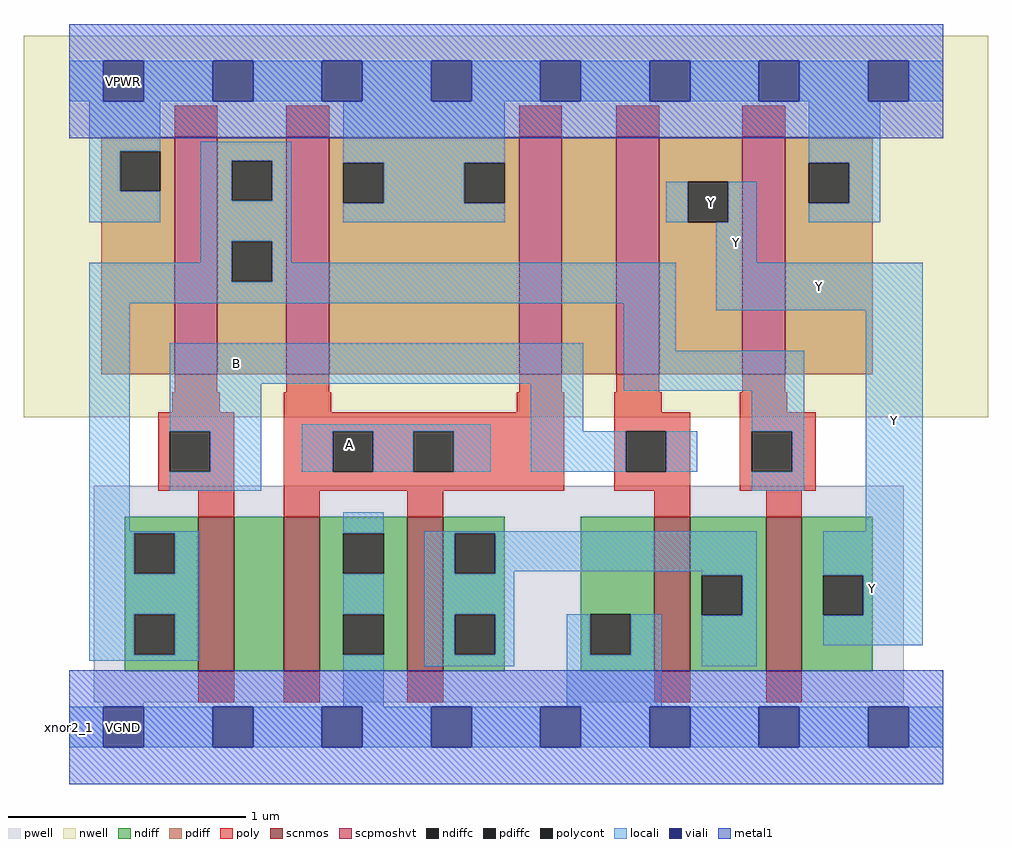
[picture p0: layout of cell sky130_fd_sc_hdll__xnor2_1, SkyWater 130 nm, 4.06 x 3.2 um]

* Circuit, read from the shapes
.subckt sky130_fd_sc_hdll__xnor2_1 A B VGND VNB VPB VPWR Y
XM1 n1 B n2 VNB sky130_fd_pr__nfet_01v8 w=0.65 l=0.15
XM2 VGND A n1 VNB sky130_fd_pr__nfet_01v8 w=0.65 l=0.15
XM3 n3 A VGND VNB sky130_fd_pr__nfet_01v8 w=0.65 l=0.15
XM4 n3 B VGND VNB sky130_fd_pr__nfet_01v8 w=0.65 l=0.15
XM5 Y n2 n3 VNB sky130_fd_pr__nfet_01v8 w=0.65 l=0.15
XM6 n2 B VPWR VPB sky130_fd_pr__pfet_01v8_hvt w=1 l=0.18
XM7 VPWR A n2 VPB sky130_fd_pr__pfet_01v8_hvt w=1 l=0.18
XM8 n4 A VPWR VPB sky130_fd_pr__pfet_01v8_hvt w=1 l=0.18
XM9 Y B n4 VPB sky130_fd_pr__pfet_01v8_hvt w=1 l=0.18
XM10 VPWR n2 Y VPB sky130_fd_pr__pfet_01v8_hvt w=1 l=0.18
.ends

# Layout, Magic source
magic
tech sky130A
magscale 1 2
<< nwell >>
rect -38 261 774 582
<< pwell >>
rect 21 21 703 203
rect 29 -17 63 21
<< scnmos >>
rect 109 47 139 177
rect 181 47 211 177
rect 285 47 315 177
rect 493 47 523 177
rect 587 47 617 177
<< scpmoshvt >>
rect 89 297 125 497
rect 183 297 219 497
rect 379 297 415 497
rect 461 297 497 497
rect 567 297 603 497
<< ndiff >>
rect 47 163 109 177
rect 47 129 55 163
rect 89 129 109 163
rect 47 95 109 129
rect 47 61 55 95
rect 89 61 109 95
rect 47 47 109 61
rect 139 47 181 177
rect 211 163 285 177
rect 211 129 231 163
rect 265 129 285 163
rect 211 95 285 129
rect 211 61 231 95
rect 265 61 285 95
rect 211 47 285 61
rect 315 163 367 177
rect 315 129 325 163
rect 359 129 367 163
rect 315 95 367 129
rect 315 61 325 95
rect 359 61 367 95
rect 315 47 367 61
rect 431 95 493 177
rect 431 61 439 95
rect 473 61 493 95
rect 431 47 493 61
rect 523 128 587 177
rect 523 94 533 128
rect 567 94 587 128
rect 523 47 587 94
rect 617 128 677 177
rect 617 94 635 128
rect 669 94 677 128
rect 617 47 677 94
<< pdiff >>
rect 27 485 89 497
rect 27 451 43 485
rect 77 451 89 485
rect 27 297 89 451
rect 125 477 183 497
rect 125 443 137 477
rect 171 443 183 477
rect 125 409 183 443
rect 125 375 137 409
rect 171 375 183 409
rect 125 297 183 375
rect 219 475 379 497
rect 219 441 231 475
rect 265 441 333 475
rect 367 441 379 475
rect 219 297 379 441
rect 415 297 461 497
rect 497 459 567 497
rect 497 425 521 459
rect 555 425 567 459
rect 497 297 567 425
rect 603 475 677 497
rect 603 441 623 475
rect 657 441 677 475
rect 603 297 677 441
<< ndiffc >>
rect 55 129 89 163
rect 55 61 89 95
rect 231 129 265 163
rect 231 61 265 95
rect 325 129 359 163
rect 325 61 359 95
rect 439 61 473 95
rect 533 94 567 128
rect 635 94 669 128
<< pdiffc >>
rect 43 451 77 485
rect 137 443 171 477
rect 137 375 171 409
rect 231 441 265 475
rect 333 441 367 475
rect 521 425 555 459
rect 623 441 657 475
<< poly >>
rect 89 497 125 523
rect 183 497 219 523
rect 379 497 415 523
rect 461 497 497 523
rect 567 497 603 523
rect 89 282 125 297
rect 183 282 219 297
rect 379 282 415 297
rect 461 282 497 297
rect 567 282 603 297
rect 87 265 127 282
rect 181 265 221 282
rect 377 265 417 282
rect 75 249 139 265
rect 75 215 85 249
rect 119 215 139 249
rect 75 199 139 215
rect 109 177 139 199
rect 181 249 417 265
rect 181 215 222 249
rect 256 215 290 249
rect 324 215 417 249
rect 181 199 417 215
rect 459 265 499 282
rect 565 265 605 282
rect 459 249 523 265
rect 459 215 469 249
rect 503 215 523 249
rect 459 199 523 215
rect 565 249 629 265
rect 565 215 575 249
rect 609 215 629 249
rect 565 199 629 215
rect 181 177 211 199
rect 285 177 315 199
rect 493 177 523 199
rect 587 177 617 199
rect 109 21 139 47
rect 181 21 211 47
rect 285 21 315 47
rect 493 21 523 47
rect 587 21 617 47
<< polycont >>
rect 85 215 119 249
rect 222 215 256 249
rect 290 215 324 249
rect 469 215 503 249
rect 575 215 609 249
<< locali >>
rect 0 527 29 561
rect 63 527 121 561
rect 155 527 213 561
rect 247 527 305 561
rect 339 527 397 561
rect 431 527 489 561
rect 523 527 581 561
rect 615 527 673 561
rect 707 527 736 561
rect 17 485 77 527
rect 17 451 43 485
rect 17 425 77 451
rect 111 477 187 493
rect 111 443 137 477
rect 171 443 187 477
rect 111 409 187 443
rect 231 475 367 527
rect 265 441 333 475
rect 623 475 683 527
rect 231 425 367 441
rect 503 425 521 459
rect 555 425 579 459
rect 657 441 683 475
rect 623 425 683 441
rect 111 391 137 409
rect 17 375 137 391
rect 171 391 187 409
rect 545 391 579 425
rect 171 375 511 391
rect 17 357 511 375
rect 17 165 51 357
rect 85 289 433 323
rect 85 249 162 289
rect 119 215 162 249
rect 196 249 355 255
rect 196 215 222 249
rect 256 215 290 249
rect 324 215 355 249
rect 389 249 433 289
rect 467 317 511 357
rect 545 351 719 391
rect 467 283 619 317
rect 575 249 619 283
rect 389 215 469 249
rect 503 215 529 249
rect 609 215 619 249
rect 85 199 162 215
rect 575 199 619 215
rect 17 163 110 165
rect 17 129 55 163
rect 89 129 110 163
rect 17 95 110 129
rect 17 61 55 95
rect 89 61 110 95
rect 17 56 110 61
rect 231 163 265 181
rect 671 165 719 351
rect 231 95 265 129
rect 231 17 265 61
rect 299 163 579 165
rect 299 129 325 163
rect 359 131 579 163
rect 359 129 375 131
rect 299 95 375 129
rect 533 128 579 131
rect 299 61 325 95
rect 359 61 375 95
rect 299 51 375 61
rect 419 61 439 95
rect 473 61 499 95
rect 419 17 499 61
rect 567 94 579 128
rect 533 51 579 94
rect 635 128 719 165
rect 669 94 719 128
rect 635 69 719 94
rect 0 -17 29 17
rect 63 -17 121 17
rect 155 -17 213 17
rect 247 -17 305 17
rect 339 -17 397 17
rect 431 -17 489 17
rect 523 -17 581 17
rect 615 -17 673 17
rect 707 -17 736 17
<< viali >>
rect 29 527 63 561
rect 121 527 155 561
rect 213 527 247 561
rect 305 527 339 561
rect 397 527 431 561
rect 489 527 523 561
rect 581 527 615 561
rect 673 527 707 561
rect 29 -17 63 17
rect 121 -17 155 17
rect 213 -17 247 17
rect 305 -17 339 17
rect 397 -17 431 17
rect 489 -17 523 17
rect 581 -17 615 17
rect 673 -17 707 17
<< metal1 >>
rect 0 561 736 592
rect 0 527 29 561
rect 63 527 121 561
rect 155 527 213 561
rect 247 527 305 561
rect 339 527 397 561
rect 431 527 489 561
rect 523 527 581 561
rect 615 527 673 561
rect 707 527 736 561
rect 0 496 736 527
rect 0 17 736 48
rect 0 -17 29 17
rect 63 -17 121 17
rect 155 -17 213 17
rect 247 -17 305 17
rect 339 -17 397 17
rect 431 -17 489 17
rect 523 -17 581 17
rect 615 -17 673 17
rect 707 -17 736 17
rect 0 -48 736 -17
<< labels >>
flabel metal1 s 29 -17 63 17 0 FreeSans 200 0 0 0 VGND
port 3 nsew ground bidirectional
flabel metal1 s 29 527 63 561 0 FreeSans 200 0 0 0 VPWR
port 6 nsew power bidirectional
flabel locali s 124 289 158 323 0 FreeSans 200 0 0 0 B
port 2 nsew signal input
flabel locali s 671 165 719 351 0 FreeSans 200 0 0 0 Y
port 7 nsew signal output
flabel locali s 219 221 253 255 0 FreeSans 200 0 0 0 A
port 1 nsew signal input
flabel nwell s 29 527 63 561 0 FreeSans 200 0 0 0 VPB
port 5 nsew power bidirectional
flabel pwell s 29 -17 63 17 0 FreeSans 200 0 0 0 VNB
port 4 nsew ground bidirectional
rlabel comment s 0 0 0 0 4 xnor2_1
rlabel locali s 635 69 719 165 1 Y
port 7 nsew signal output
rlabel locali s 545 391 579 425 1 Y
port 7 nsew signal output
rlabel locali s 545 351 719 391 1 Y
port 7 nsew signal output
rlabel locali s 503 425 579 459 1 Y
port 7 nsew signal output
<< properties >>
string LEFsite unithd
string LEFclass CORE
string FIXED_BBOX 0 0 736 544
string GDS_FILE $PDKPATH/libs.ref/sky130_fd_sc_hdll/gds/sky130_fd_sc_hdll.gds
string LEFsymmetry X Y R90
string GDS_END 2935446
string GDS_START 2929854
string LEFproperties maskLayoutSubType "abstract" prCellType "standard" originalViewName "layout"
<< end >>
